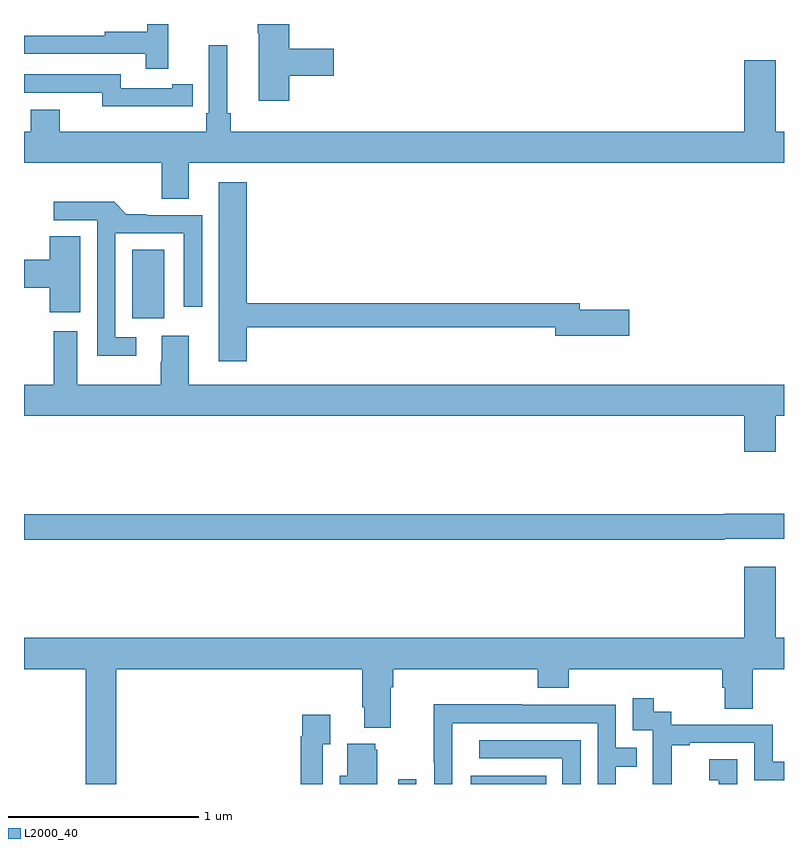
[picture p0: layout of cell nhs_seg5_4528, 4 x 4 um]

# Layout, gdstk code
import gdstk
lib = gdstk.Library(unit=1e-6, precision=1e-09)
def R(c, l, rs):  # rectangles x0, y0, x1, y1
    for r in rs: c.add(gdstk.rectangle(r[:2], r[2:], *l))
def P(c, l, *ps):  # polygons
    for p in ps: c.add(gdstk.Polygon(p, *l))
L2000_40 = (2000, 40)

nhs_seg5_4528 = lib.new_cell('nhs_seg5_4528')
R(nhs_seg5_4528, L2000_40, [(378.969,878.799,379.065,878.824), (379.352,878.799,379.748,878.842), (377.57,881.25,377.737,881.612)])
P(nhs_seg5_4528, L2000_40, [(378.395,882.526),(378.631,882.526),(378.631,882.668),(378.395,882.668),(378.395,882.799),(378.229,882.799),(378.229,882.751),(378.236,882.751),(378.236,882.396),(378.395,882.396)],
  [(377.759,882.799),(377.649,882.799),(377.649,882.758),(377.425,882.758),(377.425,882.738),(377,882.738),(377,882.642),(377.641,882.642),(377.641,882.564),(377.759,882.564)],
  [(377.866,882.068),(381,882.068),(381,882.232),(380.956,882.232),(380.956,882.607),(380.792,882.607),(380.792,882.232),(378.089,882.232),(378.089,882.328),(378.07,882.328),(378.07,882.688),(377.973,882.688),(377.973,882.328),(377.96,882.328),(377.96,882.232),(377.188,882.232),(377.188,882.349),(377.036,882.349),(377.036,882.232),(377,882.232),(377,882.068),(377.726,882.068),(377.726,881.878),(377.866,881.878)],
  [(377.78,882.366),(377.888,882.366),(377.888,882.482),(377.78,882.482),(377.78,882.462),(377.508,882.462),(377.508,882.534),(377,882.534),(377,882.438),(377.412,882.438),(377.412,882.365),(377.78,882.365)],
  [(378.173,881.202),(379.796,881.202),(379.796,881.159),(380.185,881.159),(380.185,881.294),(379.924,881.294),(379.924,881.33),(378.173,881.33),(378.173,881.965),(378.026,881.965),(378.026,881.025),(378.173,881.025)],
  [(377.59,881.151),(377.481,881.151),(377.481,881.697),(377.841,881.697),(377.841,881.31),(377.937,881.31),(377.937,881.793),(377.647,881.793),(377.647,881.798),(377.539,881.798),(377.474,881.864),(377.157,881.864),(377.157,881.766),(377.385,881.766),(377.385,881.054),(377.59,881.054)],
  [(377.296,881.681),(377.135,881.681),(377.135,881.558),(377,881.558),(377,881.411),(377.135,881.411),(377.135,881.283),(377.296,881.283)],
  [(380.956,880.736),(381,880.736),(381,880.9),(377.866,880.9),(377.866,881.158),(377.726,881.158),(377.726,881.021),(377.719,881.021),(377.719,880.9),(377.281,880.9),(377.281,881.182),(377.156,881.182),(377.156,880.9),(377,880.9),(377,880.736),(380.792,880.736),(380.792,880.548),(380.956,880.548)],
  [(380.688,880.091),(381,880.091),(381,880.221),(380.688,880.221),(380.688,880.22),(377,880.22),(377,880.084),(380.688,880.084)],
  [(377.486,879.404),(378.779,879.404),(378.779,879.202),(378.791,879.202),(378.791,879.095),(378.931,879.095),(378.931,879.308),(378.944,879.308),(378.944,879.404),(379.703,879.404),(379.703,879.305),(379.868,879.305),(379.868,879.404),(380.675,879.404),(380.675,879.306),(380.687,879.306),(380.687,879.196),(380.835,879.196),(380.835,879.404),(381,879.404),(381,879.568),(380.956,879.568),(380.956,879.943),(380.792,879.943),(380.792,879.568),(377,879.568),(377,879.404),(377.326,879.404),(377.326,878.799),(377.486,878.799)],
  [(380.408,879.003),(380.503,879.003),(380.503,879.015),(380.844,879.015),(380.844,878.82),(381,878.82),(381,878.916),(380.94,878.916),(380.94,879.111),(380.406,879.111),(380.406,879.18),(380.314,879.18),(380.314,879.25),(380.205,879.25),(380.205,879.081),(380.31,879.081),(380.31,878.852),(380.309,878.852),(380.309,878.799),(380.408,878.799)],
  [(379.254,878.866),(379.255,878.866),(379.255,879.12),(380.019,879.12),(380.019,878.799),(380.115,878.799),(380.115,878.89),(380.225,878.89),(380.225,878.991),(380.115,878.991),(380.115,879.216),(379.619,879.216),(379.619,879.218),(379.156,879.218),(379.156,878.911),(379.158,878.911),(379.158,878.799),(379.254,878.799)],
  [(378.573,879.007),(378.613,879.007),(378.613,879.163),(378.465,879.163),(378.465,879.05),(378.457,879.05),(378.457,878.799),(378.573,878.799)],
  [(379.929,879.03),(379.395,879.03),(379.395,878.934),(379.833,878.934),(379.833,878.799),(379.929,878.799)],
  [(378.859,878.979),(378.848,878.979),(378.848,879.01),(378.701,879.01),(378.701,878.842),(378.662,878.842),(378.662,878.799),(378.859,878.799)],
  [(380.754,878.929),(380.607,878.929),(380.607,878.819),(380.656,878.819),(380.656,878.799),(380.754,878.799)])

lib.write_gds('nhs_seg5_4528.gds')
